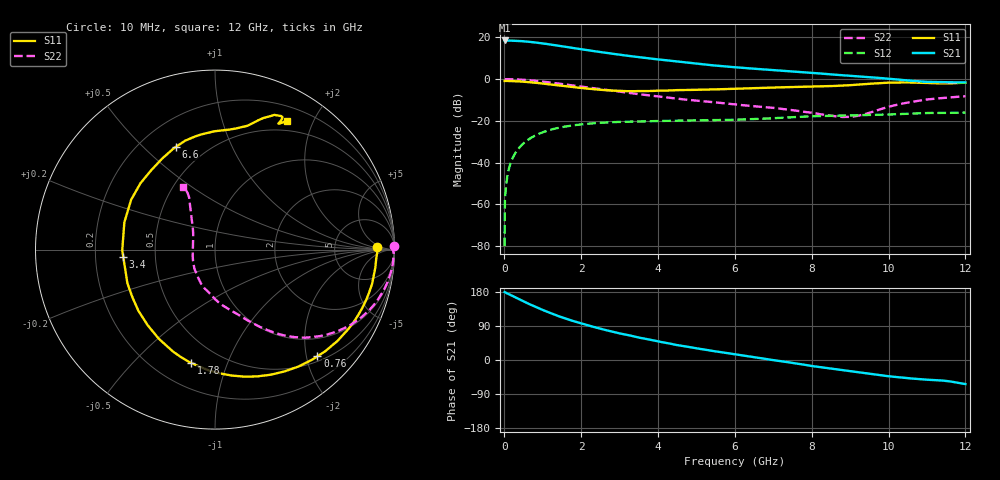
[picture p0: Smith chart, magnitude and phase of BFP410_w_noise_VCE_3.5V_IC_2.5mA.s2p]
! Infineon Technologies  Discrete & RF Semiconductors
! BFP410
! VCE =  3.5 V,  IC =  2.5 mA
! Common Emitter S-Parameters:  Nov 2015
# GHz  S  MA  R  50
!  f  S11  S21  S12  S22
! GHz  MAG  ANG  MAG  ANG  MAG  ANG  MAG  ANG
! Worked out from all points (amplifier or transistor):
!   243 points, 10 MHz to 12 GHz, reference 50 ohm
!   highest |S21| = 18.5 dB at 10 MHz (marker M1)
!   |S21| within 3 dB of that: start of sweep to 1.582 GHz
!   unconditionally stable (mu >= 1): 3.878 GHz to end of sweep
!   at 240 MHz: K = 0.06, MSG = 27.7 dB, |S12| = -37.0 dB
!   at 1.84 GHz: K = 0.42, MSG = 18.4 dB, |S12| = -22.0 dB
!   at 12 GHz: K = 1.12, MAG = 5.1 dB, |S12| = -16.0 dB
!   lowest NFmin = 0.84 dB at 900 MHz
!   S11 on the Smith chart (normalised r, x): 10 MHz: 19, +3; 760 MHz: 0.60, -2.21; 1.78 GHz: 0.35, -0.75; 3.4 GHz: 0.32, -0.04; 6.6 GHz: 0.35, +0.63; 12 GHz: 0.37, +1.64
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0.01  0.9016 1.0  8.399 179.3  0.0001 -12.0  1 1.2
0.015  0.903 0.2  8.367 179.1  0.0007 71.5  0.9946 0.7
0.02  0.9046 -0.6  8.336 178.9  0.0014 75.6  0.9892 0.2
0.12  0.8981 -7.2  8.329 173.9  0.0071 84.1  0.9946 -3.5
0.4  0.8774 -24.5  8.154 159.8  0.0233 76.7  0.9732 -12.0
0.6  0.8513 -36.7  7.882 149.9  0.0342 70.5  0.946 -17.8
0.76  0.8239 -46.2  7.599 142.6  0.0422 65.7  0.9178 -22.1
0.96  0.7879 -58.0  7.22 133.7  0.0514 59.9  0.8776 -27.4
1.2  0.7443 -71.7  6.731 123.8  0.0611 53.6  0.8266 -33.0
1.42  0.7032 -83.7  6.262 115.4  0.0683 48.1  0.7787 -37.6
1.78  0.645 -101.9  5.562 103.3  0.0777 40.6  0.7061 -44.0
2.02  0.6103 -113.5  5.15 96.0  0.0826 36.2  0.6607 -47.6
2.64  0.5421 -143.2  4.256 79.0  0.0913 26.4  0.5502 -55.8
3.4  0.5126 -175.5  3.438 61.7  0.0962 18.1  0.447 -64.0
4.1  0.528 160.4  2.886 47.2  0.0996 12.8  0.3733 -71.9
5  0.556 138.3  2.332 30.7  0.1026 7.7  0.3047 -84.2
6.1  0.5901 118.5  1.888 13.6  0.107 4.1  0.2423 -97.9
6.6  0.6124 110.8  1.743 6.0  0.1112 2.8  0.2197 -106.4
8.2  0.665 86.7  1.364 -18.5  0.1297 -5.6  0.1451 -144.9
9  0.714 75.2  1.2 -29.4  0.1341 -10.3  0.1243 171.5
10.2  0.8251 64.9  0.979 -44.9  0.1443 -15.7  0.2399 123.8
12  0.8207 60.9  0.83 -63.5  0.1578 -29.1  0.3885 117.0
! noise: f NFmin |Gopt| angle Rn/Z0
0.45  0.88  0.45  7  0.25
0.9  0.84  0.43  20  0.24
1.8  1.06  0.33  53  0.2
2.4  1.09  0.33  62  0.18
5.5  2.15  0.34  -141  0.2
10  3.77  0.69  -55  2.12
